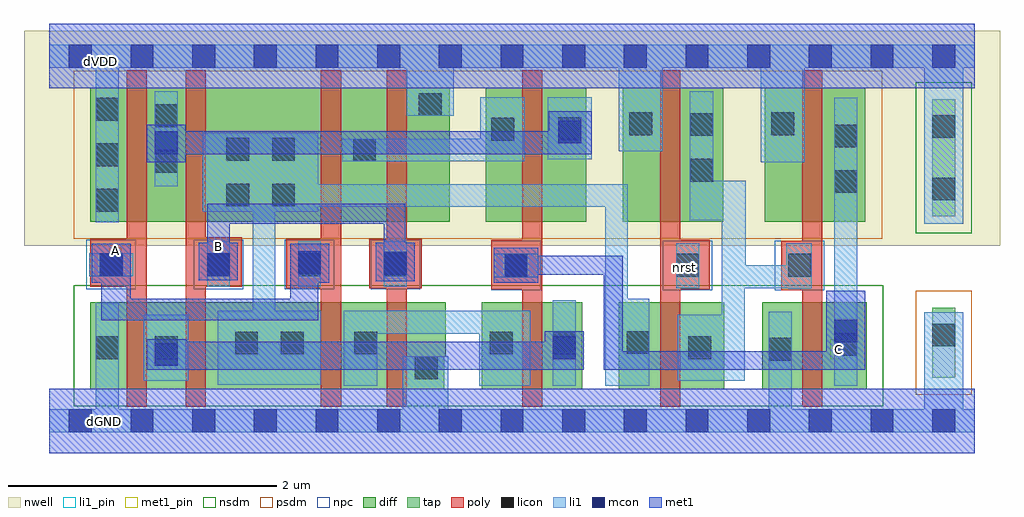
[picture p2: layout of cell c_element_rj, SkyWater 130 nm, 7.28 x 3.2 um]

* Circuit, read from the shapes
.subckt c_element_rj A B C dGND dVDD nrst
XM1 n1 A dGND dGND sky130_fd_pr__nfet_01v8 w=0.65 l=0.15
XM2 n2 B n1 dGND sky130_fd_pr__nfet_01v8 w=0.65 l=0.15
XM3 n3 A n2 dGND sky130_fd_pr__nfet_01v8 w=0.65 l=0.15
XM4 dGND B n3 dGND sky130_fd_pr__nfet_01v8 w=0.65 l=0.15
XM5 n1 C n3 dGND sky130_fd_pr__nfet_01v8 w=0.65 l=0.15
XM6 n4 nrst n2 dGND sky130_fd_pr__nfet_01v8 w=0.65 l=0.15
XM7 C n4 dGND dGND sky130_fd_pr__nfet_01v8 w=0.65 l=0.15
XM8 n5 A dVDD dVDD sky130_fd_pr__pfet_01v8 w=1 l=0.15
XM9 n2 B n5 dVDD sky130_fd_pr__pfet_01v8 w=1 l=0.15
XM10 n6 A n2 dVDD sky130_fd_pr__pfet_01v8 w=1 l=0.15
XM11 dVDD B n6 dVDD sky130_fd_pr__pfet_01v8 w=1 l=0.15
XM12 n5 C n6 dVDD sky130_fd_pr__pfet_01v8 w=1 l=0.15
XM13 n4 nrst dVDD dVDD sky130_fd_pr__pfet_01v8 w=1 l=0.15
XM14 C n4 dVDD dVDD sky130_fd_pr__pfet_01v8 w=1 l=0.15
.ends

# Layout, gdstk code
import gdstk
lib = gdstk.Library(unit=1e-6, precision=1e-09)
def R(c, l, rs):  # rectangles x0, y0, x1, y1
    for r in rs: c.add(gdstk.rectangle(r[:2], r[2:], *l))
def A(c, l, x, y, w, h, nx, ny, dx, dy):  # array of equal rectangles
    R(c, l, [(x+i*dx, y+j*dy, x+i*dx+w, y+j*dy+h) for i in range(nx) for j in range(ny)])
nwell = (64, 20)
diff = (65, 20)
tap = (65, 44)
poly = (66, 20)
licon = (66, 44)
li1_pin = (67, 16)
li1 = (67, 20)
mcon = (67, 44)
met1_pin = (68, 16)
met1 = (68, 20)
nsdm = (93, 44)
psdm = (94, 20)
npc = (95, 20)

c_element_rj = lib.new_cell('c_element_rj')
R(c_element_rj, nwell, [(0,1.545,7.28,3.15)])
R(c_element_rj, diff, [(0.495,0.475,3.135,0.72), (3.415,0.475,4.165,1.125), (4.435,0.475,5.225,1.125), (5.505,0.475,6.285,1.125), (0.495,0.72,3.145,1.125), (0.495,1.725,3.175,2.725), (3.445,1.725,4.195,2.725), (4.465,1.725,5.215,2.725), (5.525,1.725,6.275,2.725)])
R(c_element_rj, tap, [(6.775,0.56,6.945,1.085), (6.775,1.765,6.945,2.64)])
R(c_element_rj, poly, [(0.765,0.345,0.915,1.24), (1.205,0.345,1.355,1.24), (2.215,0.345,2.365,1.23), (2.705,0.345,2.855,1.23), (3.715,0.345,3.865,1.22), (4.745,0.345,4.895,1.22), (5.805,0.345,5.955,1.215), (5.65,1.215,5.955,1.585), (3.485,1.22,3.865,1.59), (4.745,1.22,5.115,1.59), (1.955,1.23,2.365,1.6), (2.575,1.23,2.965,1.6), (0.495,1.24,0.915,1.6), (1.205,1.24,1.625,1.61), (5.805,1.585,5.955,2.855), (3.715,1.59,3.865,2.855), (4.745,1.59,4.895,2.855), (0.765,1.6,0.915,2.855), (2.215,1.6,2.365,2.855), (2.705,1.6,2.855,2.855), (1.205,1.61,1.355,2.855)])
A(c_element_rj, licon, 0.535, 1.8, 0.17, 0.17, 1, 3, 0, 0.34)
R(c_element_rj, licon, [(2.915,0.55,3.085,0.72), (5.555,0.69,5.725,0.86), (0.535,0.7,0.705,0.87), (0.975,0.7,1.145,0.87), (4.955,0.7,5.125,0.87), (6.045,0.725,6.215,0.895), (1.575,0.735,1.745,0.905), (1.915,0.735,2.085,0.905), (2.465,0.735,2.635,0.905), (3.475,0.735,3.645,0.905), (3.945,0.735,4.115,0.905), (4.495,0.74,4.665,0.91), (6.775,0.795,6.945,0.965), (3.585,1.315,3.755,1.485), (4.865,1.315,5.035,1.485), (5.7,1.315,5.87,1.485), (0.565,1.32,0.735,1.49), (1.365,1.32,1.535,1.49), (2.045,1.32,2.215,1.49), (2.685,1.32,2.855,1.49), (1.51,1.84,1.68,2.01), (1.85,1.84,2.02,2.01), (6.775,1.885,6.945,2.055), (6.045,1.94,6.215,2.11), (4.97,2.025,5.14,2.195), (0.975,2.09,1.145,2.26), (2.455,2.175,2.625,2.345), (1.51,2.18,1.68,2.35), (1.85,2.18,2.02,2.35), (6.045,2.28,6.215,2.45), (3.485,2.33,3.655,2.5), (3.985,2.335,4.155,2.505), (6.775,2.35,6.945,2.52), (4.97,2.365,5.14,2.535), (4.515,2.37,4.685,2.54), (5.575,2.37,5.745,2.54), (0.975,2.43,1.145,2.6), (2.945,2.515,3.115,2.685)])
R(c_element_rj, li1_pin, [(4.91,1.35,4.94,1.42)])
R(c_element_rj, li1, [(0.19,0.155,7.09,0.325), (0.535,0.325,0.705,1.12), (2.825,0.325,3.165,0.72), (5.555,0.325,5.725,1.055), (6.715,0.325,7.005,1.05), (2.385,0.5,2.635,0.89), (3.395,0.5,3.775,0.89), (3.945,0.5,4.115,1.14), (4.335,0.5,4.665,1.15), (6.045,0.5,6.215,2.65), (1.445,0.51,2.215,1.06), (0.895,0.54,1.225,1.03), (4.875,0.54,5.375,1.03), (2.385,0.89,3.775,1.06), (5.205,1.03,5.375,1.23), (1.705,1.06,1.875,1.8), (4.335,1.15,4.505,1.835), (5.7,1.225,5.87,1.23), (4.865,1.23,5.035,1.565), (5.205,1.23,5.875,1.4), (1.365,1.24,1.535,1.58), (2.045,1.24,2.215,1.58), (2.685,1.24,2.855,1.58), (3.505,1.31,3.835,1.485), (0.485,1.32,0.815,1.49), (5.205,1.4,5.385,1.735), (5.685,1.4,5.875,1.565), (6.715,1.71,7.005,2.875), (0.535,1.72,0.705,2.87), (4.965,1.735,5.385,2.03), (1.335,1.8,2.195,1.835), (1.335,1.835,4.505,2.005), (0.975,1.99,1.145,2.7), (1.335,2.005,2.195,2.39), (4.965,2.03,5.14,2.7), (5.495,2.17,5.825,2.875), (2.375,2.175,3.735,2.345), (3.905,2.19,4.235,2.655), (4.435,2.25,4.765,2.875), (3.405,2.345,3.735,2.655), (2.855,2.515,3.205,2.87), (0.515,2.87,0.705,2.875), (2.835,2.87,3.205,2.875), (0.19,2.875,7.09,3.045)])
A(c_element_rj, mcon, 0.335, 0.155, 0.17, 0.17, 15, 2, 0.46, 2.72)
R(c_element_rj, mcon, [(0.975,0.65,1.145,0.82), (3.945,0.7,4.115,0.87), (6.045,0.825,6.215,0.995), (3.585,1.315,3.755,1.485), (0.565,1.32,0.735,1.49), (1.365,1.32,1.535,1.49), (2.685,1.33,2.855,1.5), (2.045,1.335,2.215,1.505), (0.975,2.23,1.145,2.4), (3.985,2.31,4.155,2.48)])
R(c_element_rj, met1_pin, [(0.55,0.215,0.65,0.25), (6.015,0.7,6.14,0.85), (0.635,1.495,0.725,1.53), (1.44,1.53,1.465,1.555), (0.545,2.905,0.595,2.94)])
R(c_element_rj, met1, [(0.19,0,7.09,0.48), (0.915,0.62,4.175,0.83), (4.325,0.62,6.275,0.76), (4.325,0.76,4.465,1.33), (5.985,0.76,6.275,1.21), (0.915,0.83,1.215,0.85), (3.885,0.83,4.175,0.91), (0.575,0.99,2.195,1.15), (0.575,1.15,0.795,1.27), (1.985,1.15,2.195,1.27), (0.505,1.27,0.795,1.56), (1.985,1.27,2.275,1.56), (3.505,1.27,3.835,1.33), (2.625,1.28,2.915,1.57), (1.305,1.29,1.595,1.57), (3.505,1.33,4.465,1.47), (3.505,1.47,3.835,1.53), (1.365,1.57,1.535,1.71), (2.685,1.57,2.845,1.71), (1.365,1.71,2.845,1.86), (0.915,2.17,1.205,2.23), (0.915,2.23,4.235,2.4), (0.915,2.4,1.205,2.45), (3.915,2.4,4.235,2.55), (0.19,2.72,7.09,3.2)])
R(c_element_rj, nsdm, [(0.37,0.35,6.41,1.25), (6.65,1.64,7.07,2.765)])
R(c_element_rj, psdm, [(6.65,0.435,7.07,1.21), (0.37,1.6,6.4,2.85)])
R(c_element_rj, npc, [(3.485,1.215,3.855,1.585), (4.765,1.215,5.135,1.585), (5.6,1.215,5.97,1.585), (0.465,1.22,0.835,1.59), (1.265,1.22,1.635,1.59), (1.945,1.22,2.315,1.59), (2.585,1.22,2.955,1.59)])
c_element_rj.add(gdstk.Label('nrst', (4.925,1.385), layer=67, texttype=5))
c_element_rj.add(gdstk.Label('A', (0.68,1.512), layer=68, texttype=5))
c_element_rj.add(gdstk.Label('dVDD', (0.57,2.922), layer=68, texttype=5))
c_element_rj.add(gdstk.Label('B', (1.452,1.542), layer=68, texttype=5))
c_element_rj.add(gdstk.Label('C', (6.077,0.775), layer=68, texttype=5))
c_element_rj.add(gdstk.Label('dGND', (0.6,0.232), layer=68, texttype=5))

lib.write_gds('c_element_rj.gds')
